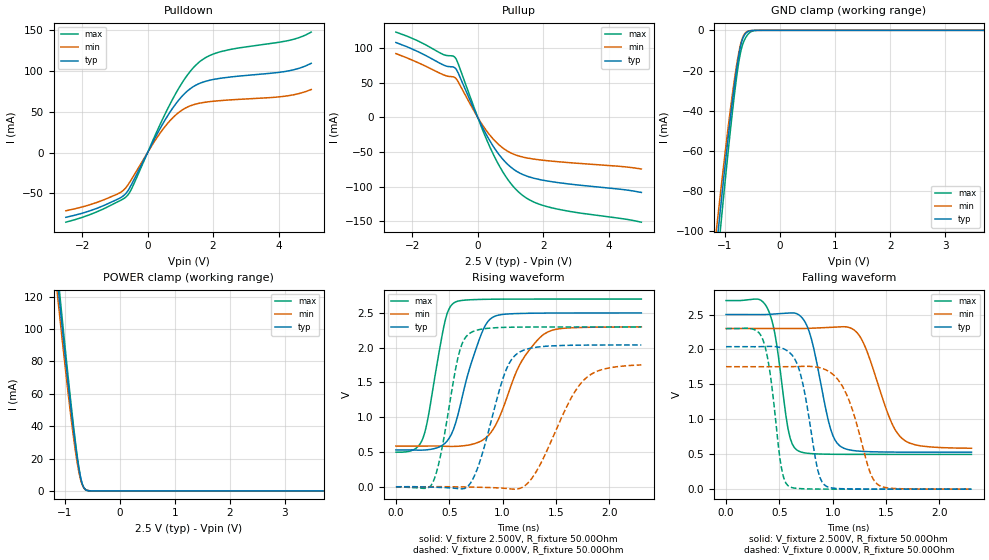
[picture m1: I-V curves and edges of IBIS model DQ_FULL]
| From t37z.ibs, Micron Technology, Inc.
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|   MODEL DQ_FULL
[Model]   DQ_FULL
Model_type   I/O
Vinl = 0.940V
Vinh = 1.560V
Vmeas = 1.250V
Vref = 1.250V
Cref = 30.000pF
Rref = 50.000Ohm
|   typ   min   max
C_comp   3.01pF   2.84pF   3.18pF
[Model Spec]
| Input threshold voltage corners
Vinh   1.560V   1.460V   1.660V
Vinl   0.940V   0.840V   1.040V
| Measurement voltage corners
Vmeas   1.250V   1.150V   1.350V
| Timing spec test load voltage corners
Vref   1.250V   1.150V   1.350V
| Overshoot/Undershoot
S_overshoot_high   2.800V   2.600V   3.000V
S_overshoot_low   -0.300V   NA   NA
[Receiver Thresholds]
Vth   =  1.250V
Vth_min  =  1.225V
Vth_max  =  1.275V
Vinh_ac  =  0.310V
Vinh_dc  =  0.150V
Vinl_ac  = -0.310V
Vinl_dc  = -0.150V
Tslew_ac =  10.000ns |Not specified, so set to high value
[Voltage Range]   2.500V   2.300V   2.700V
| Junction Temperature (Ambient temp is 25C typ, 70C min, 0C max)
[Temperature Range]   40.0   85.0   0.0
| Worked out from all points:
|   slope of the pulldown table from 0 to 0.375 V, typ, clamps not added: 13 ohm
|   slope of the pullup table from 0 to 0.375 V, typ, clamps not added: 11 ohm
|   GND clamp passes 1 mA (typ) near -0.60 V on its own axis
|   POWER clamp passes 1 mA (typ) near -0.62 V on its own axis
|   falling waveform, V_fixture 2.500V, R_fixture 50.00Ohm: 20-80 % time 162ps typ, 234ps min, 120ps max; typ from 2.5 V to 0.529 V
|   rising waveform, V_fixture 2.500V, R_fixture 50.00Ohm: 20-80 % time 218ps typ, 297ps min, 149ps max; typ from 0.529 V to 2.5 V
|   rising waveform, V_fixture 0.000V, R_fixture 50.00Ohm: 20-80 % time 224ps typ, 329ps min, 159ps max; typ from 0 V to 2.04 V
|   falling waveform, V_fixture 0.000V, R_fixture 50.00Ohm: 20-80 % time 141ps typ, 211ps min, 110ps max; typ from 2.04 V to 0 V
[Pulldown]
|   Voltage   I(typ)   I(min)   I(max)
-2.5V     -79.09mA   -71.13mA   -85.05mA
-1.29V    -63.86mA   -56.97mA   -67.72mA
-820mV    -55.02mA   -48.47mA   -58.3mA
-615mV    -47.44mA   -40.35mA   -52.37mA
-485mV    -38.43mA   -32.29mA   -43.91mA
220mV     17.31mA    14.19mA    20.1mA
615mV     44.99mA    35.68mA    53.54mA
1.115V    71.3mA     53.34mA    88.78mA
1.605V    84.63mA    60.32mA    111.3mA
2.27V     90.85mA    63.49mA    123.5mA
4.21V     98.94mA    68.79mA    135.9mA
5V        108.8mA    76.9mA     147mA
[GND Clamp]
|   Voltage   I(typ)   I(min)   I(max)
-2.5V     -499.1mA   -469.6mA   -532.1mA
-1.14V    -105.1mA   -96.31mA   -116.2mA
-1.105V   -95.8mA    -87.63mA   -106.2mA
-1.075V   -87.89mA   -80.28mA   -97.74mA
-1.06V    -83.97mA   -76.65mA   -93.52mA
-900mV    -44.05mA   -39.8mA    -50.3mA
-770mV    -16.48mA   -14.77mA   -20.18mA
-725mV    -9.384mA   -8.379mA   -12.52mA
-685mV    -4.962mA   -4.327mA   -7.856mA
-595mV    -862.5uA   -613.9uA   -2.525mA
-410mV    -5.752uA   -3.354uA   -30.31uA
5V        0A         0A         0A
[Pullup]
|   Voltage   I(typ)   I(min)   I(max)
-2.5V     108.1mA    92.07mA    123.1mA
-1.825V   94.86mA    79.01mA    110.3mA
-1.06V    75.82mA    61.66mA    90.87mA
-690mV    71.15mA    57.16mA    86.33mA
-595mV    63.78mA    51.06mA    77.13mA
70mV      -7.024mA   -5.441mA   -8.706mA
475mV     -41.88mA   -31.44mA   -53.3mA
925mV     -68.32mA   -49.19mA   -90.13mA
1.355V    -82.08mA   -57.09mA   -112.1mA
1.725V    -88.03mA   -60.34mA   -122.5mA
2.265V    -92.95mA   -63.26mA   -130.7mA
5V        -108.4mA   -74.56mA   -151.4mA
[POWER Clamp]
|   Voltage   I(typ)   I(min)   I(max)
-2.5V     628.5mA    605.5mA    653.4mA
-1.15V    136.8mA    128.1mA    143.5mA
-1.12V    126.7mA    118.3mA    133mA
-1.105V   121.6mA    113.4mA    127.8mA
-1.075V   111.7mA    103.8mA    117.5mA
-910mV    58.85mA    53.16mA    62.53mA
-795mV    26.35mA    22.87mA    28.15mA
-740mV    13.8mA     11.7mA     14.56mA
-695mV    6.291mA    5.383mA    6.322mA
-650mV    2.114mA    1.937mA    1.875mA
-605mV    552.1uA    592.1uA    408.3uA
5V        0A         0A         0A
[Ramp]
R_load = 50.00Ohm
|   typ   min   max
dV/dt_r   1.224V/224.066ps   1.052V/329.371ps   1.379V/159.199ps
dV/dt_f   1.182V/161.501ps   1.029V/233.745ps   1.321V/119.798ps
[Falling Waveform]
V_fixture = 2.500V
V_fixture_min = 2.300V
V_fixture_max = 2.700V
R_fixture = 50.00Ohm
|   Time   V(typ)   V(min)   V(max)
0s        2.5V       2.3V       2.7V
390ps     2.502V     2.3V       2.583V
470ps     2.51V      2.3V       2.114V
580ps     2.521V     2.299V     869.9mV
680ps     2.498V     2.299V     545.4mV
780ps     2.252V     2.303V     511.4mV
1.06ns    628.1mV    2.323V     498.9mV
1.27ns    542mV      2.146V     498.1mV
1.64ns    530.2mV    739.8mV    497.9mV
2.3ns     529.2mV    585.6mV    497.9mV
[Rising Waveform]
V_fixture = 2.500V
V_fixture_min = 2.300V
V_fixture_max = 2.700V
R_fixture = 50.00Ohm
|   Time   V(typ)   V(min)   V(max)
0s        529.2mV    585.6mV    497.9mV
250ps     527.3mV    585.5mV    686mV
300ps     532.9mV    585.8mV    985.2mV
460ps     625.5mV    581.9mV    2.38V
550ps     873.6mV    580.5mV    2.651V
760ps     2.026V     632.2mV    2.694V
900ps     2.431V     801.6mV    2.698V
1.16ns    2.493V     1.756V     2.7V
1.39ns    2.498V     2.197V     2.7V
2.3ns     2.5V       2.3V       2.7V
[Rising Waveform]
V_fixture = 0.000V
V_fixture_min = 0.000V
V_fixture_max = 0.000V
R_fixture = 50.00Ohm
|   Time   V(typ)   V(min)   V(max)
0s        -24.49uV   -31.29uV   -20.58uV
350ps     -6.396mV   595.1uV    75.26mV
430ps     -10.62mV   813.4uV    540.8mV
580ps     -26.05mV   -1.632mV   1.85V
700ps     54.77mV    -4.519mV   2.216V
1.02ns    1.632V     -22.82mV   2.293V
1.13ns    1.907V     -33.55mV   2.296V
1.3ns     2.004V     180.1mV    2.298V
1.76ns    2.037V     1.533V     2.299V
2.3ns     2.04V      1.753V     2.299V
[Falling Waveform]
V_fixture = 0.000V
V_fixture_min = 0.000V
V_fixture_max = 0.000V
R_fixture = 50.00Ohm
|   Time   V(typ)   V(min)   V(max)
0s        2.04V      1.753V     2.299V
350ps     2.041V     1.753V     2.119V
510ps     2.026V     1.753V     386.9mV
580ps     1.975V     1.753V     50.68mV
700ps     1.633V     1.757V     7.383mV
860ps     269.2mV    1.745V     1.393mV
920ps     63.61mV    1.718V     764.1uV
1.13ns    4.377mV    1.354V     89.78uV
1.42ns    415.5uV    69.49mV    -11.24uV
2.3ns     -24.49uV   -31.29uV   -20.58uV
